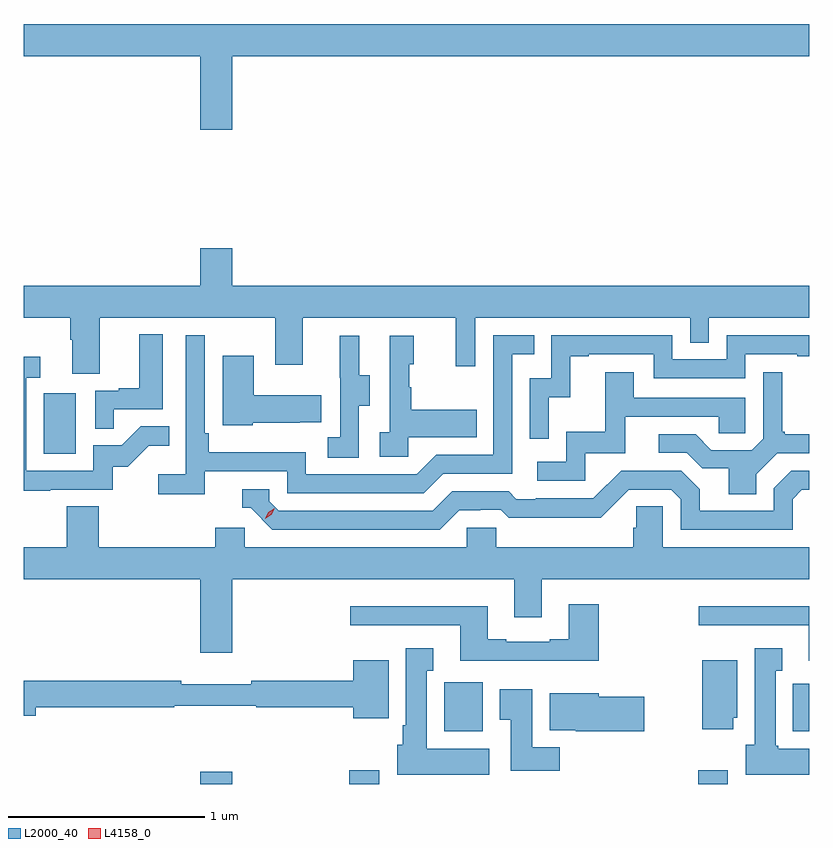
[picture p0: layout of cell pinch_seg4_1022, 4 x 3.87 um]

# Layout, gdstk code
import gdstk
lib = gdstk.Library(unit=1e-6, precision=1e-09)
def R(c, l, rs):  # rectangles x0, y0, x1, y1
    for r in rs: c.add(gdstk.rectangle(r[:2], r[2:], *l))
def P(c, l, *ps):  # polygons
    for p in ps: c.add(gdstk.Polygon(p, *l))
L2000_40 = (2000, 40)
L4158_0 = (4158, 0)

pinch_seg4_1022 = lib.new_cell('pinch_seg4_1022')
R(pinch_seg4_1022, L2000_40, [(824.348,750.49,824.512,750.553), (825.107,750.49,825.259,750.559), (826.883,750.49,827.035,750.559), (825.591,750.758,825.787,751.008), (827.366,750.758,827.449,751), (823.55,752.172,823.714,752.479)])
P(pinch_seg4_1022, L2000_40, [(824.512,754.196),(827.449,754.196),(827.449,754.36),(823.449,754.36),(823.449,754.196),(824.348,754.196),(824.348,753.822),(824.512,753.822)],
  [(823.837,752.864),(824.729,752.864),(824.729,752.625),(824.869,752.625),(824.869,752.864),(825.65,752.864),(825.65,752.616),(825.747,752.616),(825.747,752.864),(826.842,752.864),(826.842,752.737),(826.938,752.737),(826.938,752.864),(827.449,752.864),(827.449,753.028),(824.512,753.028),(824.512,753.217),(824.348,753.217),(824.348,753.028),(823.449,753.028),(823.449,752.864),(823.685,752.864),(823.685,752.752),(823.697,752.752),(823.697,752.578),(823.837,752.578)],
  [(823.907,752.397),(824.158,752.397),(824.158,752.779),(824.036,752.779),(824.036,752.506),(823.933,752.506),(823.933,752.493),(823.812,752.493),(823.812,752.299),(823.907,752.299)],
  [(824.372,752.082),(824.79,752.082),(824.79,751.971),(825.487,751.971),(825.586,752.07),(825.936,752.07),(825.936,752.679),(826.049,752.679),(826.049,752.775),(825.84,752.775),(825.84,752.166),(825.549,752.166),(825.45,752.067),(824.886,752.067),(824.886,752.179),(824.39,752.179),(824.39,752.275),(824.37,752.275),(824.37,752.776),(824.274,752.776),(824.274,752.068),(824.133,752.068),(824.133,751.966),(824.372,751.966)],
  [(826.122,752.459),(826.232,752.459),(826.232,752.667),(826.327,752.667),(826.327,752.679),(826.656,752.679),(826.656,752.556),(827.124,752.556),(827.124,752.679),(827.387,752.679),(827.387,752.667),(827.449,752.667),(827.449,752.775),(827.028,752.775),(827.028,752.652),(826.752,752.652),(826.752,752.775),(826.134,752.775),(826.134,752.556),(826.026,752.556),(826.026,752.247),(826.122,752.247)],
  [(825.156,752.416),(825.211,752.416),(825.211,752.571),(825.157,752.571),(825.157,752.773),(825.059,752.773),(825.059,752.559),(825.06,752.559),(825.06,752.255),(824.997,752.255),(824.997,752.152),(825.156,752.152)],
  [(825.408,752.255),(825.755,752.255),(825.755,752.395),(825.421,752.395),(825.421,752.51),(825.411,752.51),(825.411,752.628),(825.436,752.628),(825.436,752.773),(825.312,752.773),(825.312,752.282),(825.261,752.282),(825.261,752.157),(825.408,752.157)],
  [(824.616,752.33),(824.855,752.33),(824.855,752.333),(824.963,752.333),(824.963,752.47),(824.62,752.47),(824.62,752.671),(824.462,752.671),(824.462,752.318),(824.616,752.318)],
  [(823.583,751.989),(823.902,751.989),(823.902,752.106),(823.978,752.106),(824.085,752.213),(824.189,752.213),(824.189,752.312),(824.046,752.312),(823.948,752.214),(823.803,752.214),(823.803,752.085),(823.461,752.085),(823.461,752.559),(823.534,752.559),(823.534,752.665),(823.449,752.665),(823.449,751.984),(823.583,751.984)],
  [(827.179,752.068),(827.286,752.175),(827.449,752.175),(827.449,752.272),(827.323,752.272),(827.323,752.284),(827.311,752.284),(827.311,752.587),(827.214,752.587),(827.214,752.247),(827.157,752.19),(826.951,752.19),(826.87,752.271),(826.683,752.271),(826.683,752.178),(826.824,752.178),(826.904,752.098),(827.039,752.098),(827.039,751.966),(827.179,751.966)],
  [(826.308,752.175),(826.513,752.175),(826.513,752.361),(826.987,752.361),(826.987,752.277),(827.124,752.277),(827.124,752.457),(826.555,752.457),(826.555,752.587),(826.411,752.587),(826.411,752.284),(826.212,752.284),(826.212,752.13),(826.065,752.13),(826.065,752.034),(826.308,752.034)],
  [(825.667,751.884),(825.774,751.884),(825.774,751.887),(825.877,751.887),(825.919,751.845),(826.152,751.845),(826.152,751.847),(826.388,751.847),(826.53,751.989),(826.746,751.989),(826.794,751.941),(826.794,751.785),(827.364,751.785),(827.364,751.941),(827.412,751.989),(827.449,751.989),(827.449,752.085),(827.358,752.085),(827.268,751.995),(827.268,751.881),(826.891,751.881),(826.891,751.991),(826.797,752.085),(826.491,752.085),(826.35,751.944),(826.057,751.944),(826.057,751.941),(825.958,751.941),(825.919,751.98),(825.63,751.98),(825.531,751.881),(824.748,751.881),(824.7,751.929),(824.7,751.992),(824.561,751.992),(824.561,751.896),(824.604,751.896),(824.715,751.785),(825.568,751.785)],
  [(824.512,751.532),(825.947,751.532),(825.947,751.338),(826.087,751.338),(826.087,751.532),(827.449,751.532),(827.449,751.696),(826.704,751.696),(826.704,751.904),(826.567,751.904),(826.567,751.794),(826.553,751.794),(826.553,751.696),(825.855,751.696),(825.855,751.794),(825.705,751.794),(825.705,751.696),(824.574,751.696),(824.574,751.794),(824.423,751.794),(824.423,751.696),(823.832,751.696),(823.832,751.904),(823.667,751.904),(823.667,751.696),(823.449,751.696),(823.449,751.532),(824.348,751.532),(824.348,751.158),(824.512,751.158)],
  [(826.376,751.405),(826.223,751.405),(826.223,751.228),(826.127,751.228),(826.127,751.215),(825.907,751.215),(825.907,751.228),(825.811,751.228),(825.811,751.396),(825.111,751.396),(825.111,751.299),(825.671,751.299),(825.671,751.118),(826.376,751.118)],
  [(827.449,751.396),(826.887,751.396),(826.887,751.299),(827.447,751.299),(827.447,751.118),(827.449,751.118)],
  [(827.449,750.67),(827.292,750.67),(827.292,750.684),(827.278,750.684),(827.278,751.067),(827.311,751.067),(827.311,751.18),(827.171,751.18),(827.171,750.69),(827.126,750.69),(827.126,750.536),(827.449,750.536)],
  [(825.82,750.67),(825.502,750.67),(825.502,751.067),(825.535,751.067),(825.535,751.18),(825.395,751.18),(825.395,750.79),(825.38,750.79),(825.38,750.69),(825.35,750.69),(825.35,750.536),(825.82,750.536)],
  [(825.307,751.12),(825.128,751.12),(825.128,751.016),(824.608,751.016),(824.608,750.997),(824.252,750.997),(824.252,751.016),(823.449,751.016),(823.449,750.838),(823.51,750.838),(823.51,750.88),(824.215,750.88),(824.215,750.888),(824.632,750.888),(824.632,750.88),(825.128,750.88),(825.128,750.824),(825.307,750.824)],
  [(827.062,750.828),(827.083,750.828),(827.083,751.12),(826.904,751.12),(826.904,750.768),(827.062,750.768)],
  [(826.178,750.676),(826.039,750.676),(826.039,750.973),(825.872,750.973),(825.872,750.817),(825.929,750.817),(825.929,750.558),(826.178,750.558)],
  [(826.609,750.935),(826.378,750.935),(826.378,750.952),(826.127,750.952),(826.127,750.764),(826.26,750.764),(826.26,750.758),(826.609,750.758)])
P(pinch_seg4_1022, L4158_0, [(824.678,751.841),(824.678,751.842),(824.695,751.874),(824.726,751.893),(824.726,751.893),(824.726,751.893),(824.71,751.861),(824.679,751.841)])

lib.write_gds('pinch_seg4_1022.gds')
